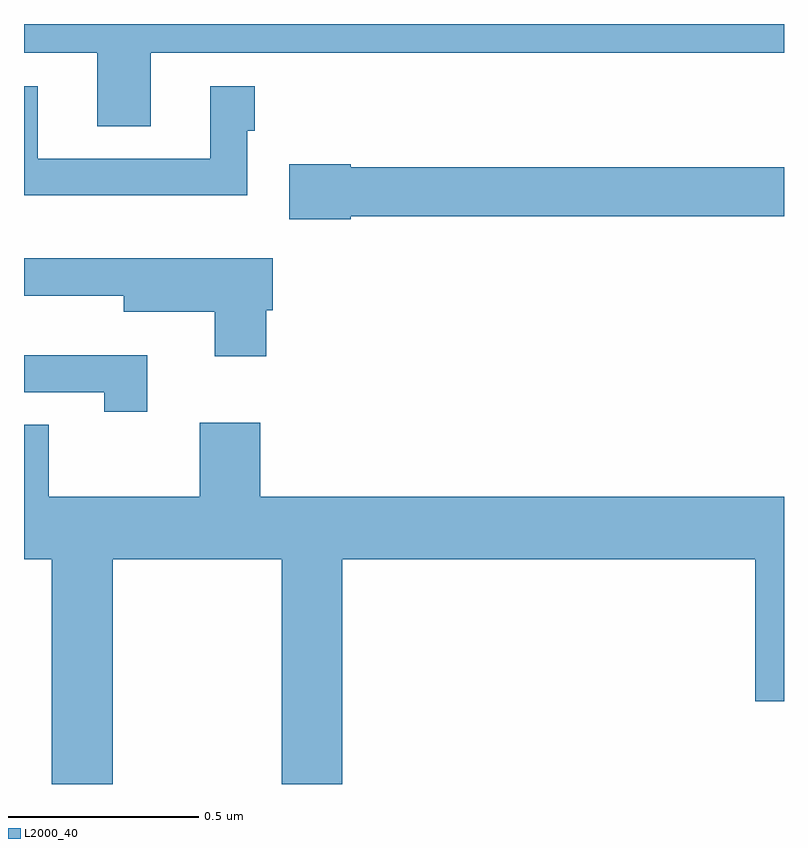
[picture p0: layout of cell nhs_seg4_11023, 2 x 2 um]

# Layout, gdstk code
import gdstk
lib = gdstk.Library(unit=1e-6, precision=1e-09)
def P(c, l, *ps):  # polygons
    for p in ps: c.add(gdstk.Polygon(p, *l))
L2000_40 = (2000, 40)

nhs_seg4_11023 = lib.new_cell('nhs_seg4_11023')
P(nhs_seg4_11023, L2000_40, [(247.333,792.824),(249,792.824),(249,792.9),(247,792.9),(247,792.824),(247.193,792.824),(247.193,792.631),(247.333,792.631)],
  [(247.587,792.619),(247.607,792.619),(247.607,792.736),(247.49,792.736),(247.49,792.546),(247.036,792.546),(247.036,792.736),(247,792.736),(247,792.449),(247.587,792.449)],
  [(247.86,792.394),(249,792.394),(249,792.523),(247.86,792.523),(247.86,792.531),(247.698,792.531),(247.698,792.386),(247.86,792.386)],
  [(247.637,792.147),(247.655,792.147),(247.655,792.283),(247,792.283),(247,792.185),(247.262,792.185),(247.262,792.143),(247.502,792.143),(247.502,792.026),(247.637,792.026)],
  [(247.324,792.028),(247,792.028),(247,791.931),(247.211,791.931),(247.211,791.88),(247.324,791.88)],
  [(247.233,791.492),(247.678,791.492),(247.678,790.9),(247.838,790.9),(247.838,791.492),(248.924,791.492),(248.924,791.118),(249,791.118),(249,791.656),(247.622,791.656),(247.622,791.851),(247.462,791.851),(247.462,791.656),(247.065,791.656),(247.065,791.846),(247,791.846),(247,791.492),(247.073,791.492),(247.073,790.9),(247.233,790.9)])

lib.write_gds('nhs_seg4_11023.gds')
